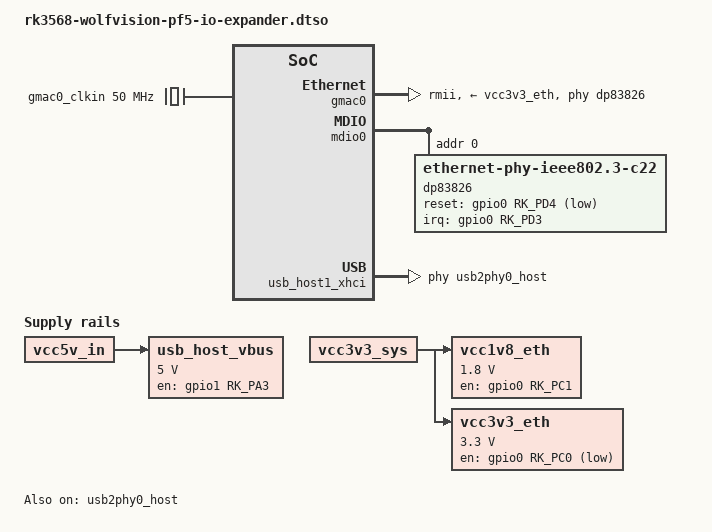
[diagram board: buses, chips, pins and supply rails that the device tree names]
// SPDX-License-Identifier: (GPL-2.0-or-later OR MIT)
/*
 * Device tree overlay for the WolfVision PF5 IO Expander board.
 *
 * Copyright (C) 2024 WolfVision GmbH.
 */

/dts-v1/;
/plugin/;

#include <dt-bindings/clock/rk3568-cru.h>
#include <dt-bindings/gpio/gpio.h>
#include <dt-bindings/interrupt-controller/irq.h>
#include <dt-bindings/pinctrl/rockchip.h>

&{/} {
	gmac0_clkin: external-gmac0-clock {
		compatible = "fixed-clock";
		clock-frequency = <50000000>;
		clock-output-names = "gmac0_clkin";
		#clock-cells = <0>;
	};

	usb_host_vbus: usb-host-vbus-regulator {
		compatible = "regulator-fixed";
		enable-active-high;
		gpio = <&gpio1 RK_PA3 GPIO_ACTIVE_HIGH>;
		pinctrl-names = "default";
		pinctrl-0 = <&usb_host_vbus_en>;
		regulator-name = "usb_host_vbus";
		regulator-min-microvolt = <5000000>;
		regulator-max-microvolt = <5000000>;
		vin-supply = <&vcc5v_in>;
	};

	vcc1v8_eth: vcc1v8-eth-regulator {
		compatible = "regulator-fixed";
		enable-active-high;
		gpio = <&gpio0 RK_PC1 GPIO_ACTIVE_HIGH>;
		pinctrl-names = "default";
		pinctrl-0 = <&vcc1v8_eth_en>;
		regulator-always-on;
		regulator-boot-on;
		regulator-name = "1v8_eth";
		regulator-min-microvolt = <1800000>;
		regulator-max-microvolt = <1800000>;
		vin-supply = <&vcc3v3_sys>;
	};

	vcc3v3_eth: vcc3v3-eth-regulator {
		compatible = "regulator-fixed";
		gpio = <&gpio0 RK_PC0 GPIO_ACTIVE_LOW>;
		pinctrl-names = "default";
		pinctrl-0 = <&vcc3v3_eth_enn>;
		regulator-always-on;
		regulator-boot-on;
		regulator-name = "3v3_eth";
		regulator-min-microvolt = <3300000>;
		regulator-max-microvolt = <3300000>;
		vin-supply = <&vcc3v3_sys>;
	};
};

&gmac0 {
	assigned-clocks = <&cru SCLK_GMAC0_RX_TX>,
			  <&cru SCLK_GMAC0>;
	assigned-clock-parents = <&cru SCLK_GMAC0_RMII_SPEED>,
				 <&gmac0_clkin>;
	clock_in_out = "input";
	phy-handle = <&dp83826>;
	phy-mode = "rmii";
	phy-supply = <&vcc3v3_eth>;
	pinctrl-names = "default";
	pinctrl-0 = <&gmac0_miim
		     &gmac0_clkinout
		     &gmac0_rx_er
		     &gmac0_rx_bus2
		     &gmac0_tx_bus2>;
	status = "okay";
};

&mdio0 {
	#address-cells = <1>;
	#size-cells = <0>;

	dp83826: ethernet-phy@0 {
		compatible = "ethernet-phy-ieee802.3-c22";
		reg = <0x0>;
		interrupt-parent = <&gpio0>;
		interrupts = <RK_PD3 IRQ_TYPE_EDGE_FALLING>;
		pinctrl-names = "default";
		pinctrl-0 = <&eth_wake_intn &eth_phy_rstn>;
		reset-assert-us = <1000>;
		reset-deassert-us = <2000>;
		reset-gpios = <&gpio0 RK_PD4 GPIO_ACTIVE_LOW>;
		wakeup-source;
	};
};

&pinctrl {
	ethernet {
		eth_wake_intn: eth-wake-intn-pinctrl {
			rockchip,pins = <0 RK_PD3 RK_FUNC_GPIO &pcfg_pull_none>;
		};

		eth_phy_rstn: eth-phy-rstn-pinctrl {
			rockchip,pins = <0 RK_PD4 RK_FUNC_GPIO &pcfg_pull_none>;
		};

		vcc1v8_eth_en: vcc1v8-eth-en-pinctrl {
			rockchip,pins = <0 RK_PC1 RK_FUNC_GPIO &pcfg_pull_none>;
		};

		vcc3v3_eth_enn: vcc3v3-eth-enn-pinctrl {
			rockchip,pins = <0 RK_PC0 RK_FUNC_GPIO &pcfg_pull_none>;
		};
	};

	usb {
		usb_host_vbus_en: usb-host-vbus-en-pinctrl {
			rockchip,pins = <1 RK_PA3 RK_FUNC_GPIO &pcfg_pull_none>;
		};
	};
};

&usb_host1_xhci {
	maximum-speed = "high-speed";
	phys = <&usb2phy0_host>;
	phy-names = "usb2-phy";
	status = "okay";
};

&usb2phy0_host {
	phy-supply = <&usb_host_vbus>;
	status = "okay";
};
